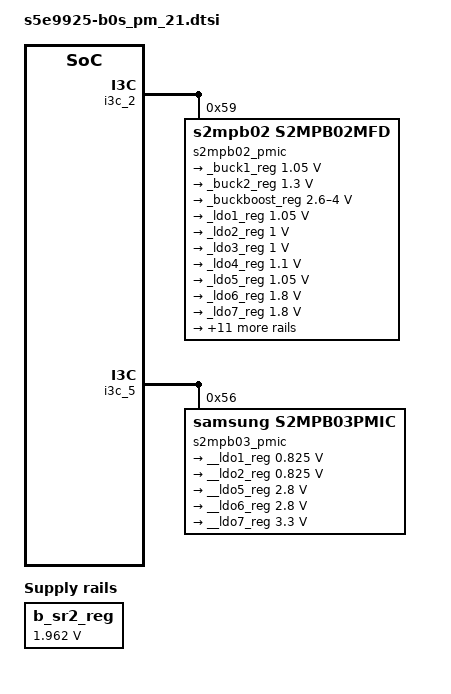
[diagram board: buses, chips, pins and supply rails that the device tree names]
/*
 * SAMSUNG S5E9925 Power Management device tree source
 *
 * Copyright (c) 2021 Samsung Electronics Co., Ltd.
 *		http://www.samsung.com
 *
 * This program is free software; you can redistribute it and/or modify
 * it under the terms of the GNU General Public License version 2 as
 * published by the Free Software Foundation.
 */

#include "../s5e9925-sec_pm_common.dtsi"
#include "s5e9925-b0s_pm_thermistor.dtsi"

&s2mps26_gpio {
	pinctrl_bten: pinctrl-bten  {
		bt_en: bt-en {
			pins = "gpio_s17";
			pmic-gpio,pull-disable;
			pmic-gpio,output-low;
		};
	};
	pinctrl_wlanen: pinctrl-wlanen  {
		wlan_en: wlan-en {
			pins = "gpio_s18";
			pmic-gpio,pull-disable;
			pmic-gpio,output-low;
		};
	};
}; /* s2mps26_gpio */

&b_sr2_reg {
	regulator-name = "vdd_mldo";
	regulator-min-microvolt = <1962500>;
	regulator-max-microvolt = <1962500>;
	regulator-ramp-delay = <6000>;
	regulator-initial-mode = <3>;
	regulator-always-on;
}; /* b_sr2_reg */

&i3c_2 {
	#address-cells = <3>;
	#size-cells = <0>;
	status = "okay";
	s2mpb02_pmic@59 {
		compatible = "s2mpb02,s2mpb02mfd";
		reg = <0x59 0x0 0x10>;
		s2mpb02,wakeup;

		regulators {
			_buck1_reg: s2mpb02-buck1 {
					regulator-name = "VDDD_1.05V_CAM";
					regulator-min-microvolt = <1050000>;
					regulator-max-microvolt = <1050000>;
					regulator-allowed-modes = <1>, <2>;
					regulator-initial-mode = <1>;
			};

			_buck2_reg: s2mpb02-buck2 {
					regulator-name = "S2MPB02_BUCK2";
					regulator-min-microvolt = <1300000>;
					regulator-max-microvolt = <1300000>;
			};

			_buckboost_reg: s2mpb02-bb {
					regulator-name = "S2MPB02_BB";
					regulator-min-microvolt = <2600000>;
					regulator-max-microvolt = <4000000>;
					regulator-always-on;
					regulator-boot-on;
					regulator-allowed-modes = <1>, <2>;
			};

			_ldo1_reg: s2mpb02-ldo1 {
					regulator-name = "VDDPHY_1.05V_CAM";
					regulator-min-microvolt = <1050000>;
					regulator-max-microvolt = <1050000>;
			};

			_ldo2_reg: s2mpb02-ldo2 {
					regulator-name = "S2MPB02_LDO2";
					regulator-min-microvolt = <1000000>;
					regulator-max-microvolt = <1000000>;
			};

			_ldo3_reg: s2mpb02-ldo3 {
					regulator-name = "VDDD_1.0V_VT";
					regulator-min-microvolt = <1000000>;
					regulator-max-microvolt = <1000000>;
			};

			_ldo4_reg: s2mpb02-ldo4 {
					regulator-name = "VDDD_1.1V_WIDESUB";
					regulator-min-microvolt = <1100000>;
					regulator-max-microvolt = <1100000>;
			};

			_ldo5_reg: s2mpb02-ldo5 {
					regulator-name = "S2MPB02_LDO5";
					regulator-min-microvolt = <1050000>;
					regulator-max-microvolt = <1050000>;
			};

			_ldo6_reg: s2mpb02-ldo6 {
					regulator-name = "VDDIO_1.8V_COMMON";
					regulator-min-microvolt = <1800000>;
					regulator-max-microvolt = <1800000>;
			};

			_ldo7_reg: s2mpb02-ldo7 {
					regulator-name = "VDDIO_1.8V_CAM";
					regulator-min-microvolt = <1800000>;
					regulator-max-microvolt = <1800000>;
			};

			_ldo8_reg: s2mpb02-ldo8 {
					regulator-name = "VDDA_1.8V_WIDESUB";
					regulator-min-microvolt = <1800000>;
					regulator-max-microvolt = <1800000>;
			};

			_ldo9_reg: s2mpb02-ldo9 {
					regulator-name = "VDD_LAF_IO";
					regulator-min-microvolt = <1800000>;
					regulator-max-microvolt = <1800000>;
			};

			_ldo10_reg: s2mpb02-ldo10 {
					regulator-name = "VDDOIS_1.8V_SUB";
					regulator-min-microvolt = <1800000>;
					regulator-max-microvolt = <1800000>;
			};

			_ldo11_reg: s2mpb02-ldo11 {
					regulator-name = "VDDAF_3.3V_WIDESUB";
					regulator-min-microvolt = <3300000>;
					regulator-max-microvolt = <3300000>;
			};

			_ldo12_reg: s2mpb02-ldo12 {
					regulator-name = "VDDA_2.8V_WIDESUB";
					regulator-min-microvolt = <2800000>;
					regulator-max-microvolt = <2800000>;
			};

			_ldo13_reg: s2mpb02-ldo13 {
					regulator-name = "VDDAF_3.3V_CAM";
					regulator-min-microvolt = <3300000>;
					regulator-max-microvolt = <3300000>;
			};

			_ldo14_reg: s2mpb02-ldo14 {
					regulator-name = "VDDOIS_3.3V_SUB";
					regulator-min-microvolt = <3300000>;
					regulator-max-microvolt = <3300000>;
			};

			_ldo15_reg: s2mpb02-ldo15 {
					regulator-name = "VDDAF_2.8V_VT";
					regulator-min-microvolt = <2800000>;
					regulator-max-microvolt = <2800000>;
			};

			_ldo16_reg: s2mpb02-ldo16 {
					regulator-name = "VDDA_2.8V_SUB";
					regulator-min-microvolt = <2800000>;
					regulator-max-microvolt = <2800000>;
			};

			_ldo17_reg: s2mpb02-ldo17 {
					regulator-name = "VDD_LAF_VDD";
					regulator-min-microvolt = <3375000>;
					regulator-max-microvolt = <3375000>;
			};

			_ldo18_reg: s2mpb02-ldo18 {
					regulator-name = "VDDOIS_3.3V_CAM";
					regulator-min-microvolt = <3300000>;
					regulator-max-microvolt = <3300000>;
			};
		};
	};
};

&i3c_5 {
	#address-cells = <3>;
	#size-cells = <0>;
	status = "okay";
	s2mpb03_pmic@56 {
		compatible = "samsung,s2mpb03pmic";
		reg = <0x56 0x0 0x10>;

		s2mpb03,wakeup;

		regulators {
			__ldo1_reg: s2mpb03-ldo1 {
				regulator-name = "VDDD_0.82V_SUB";
				regulator-min-microvolt = <825000>;
				regulator-max-microvolt = <825000>;
			};

			__ldo2_reg: s2mpb03-ldo2 {
				regulator-name = "VDDD_0.82V_SUB2";
				regulator-min-microvolt = <825000>;
				regulator-max-microvolt = <825000>;
			};

			__ldo5_reg: s2mpb03-ldo5 {
				regulator-name = "VDDA_2.8V_CAM";
				regulator-min-microvolt = <2800000>;
				regulator-max-microvolt = <2800000>;
			};

			__ldo6_reg: s2mpb03-ldo6 {
				regulator-name = "VDDA_2.8V_VT";
				regulator-min-microvolt = <2800000>;
				regulator-max-microvolt = <2800000>;
			};

			__ldo7_reg: s2mpb03-ldo7 {
				regulator-name = "VDDAF_3.3V_SUB";
				regulator-min-microvolt = <3300000>;
				regulator-max-microvolt = <3300000>;
			};
		};
	};
};
